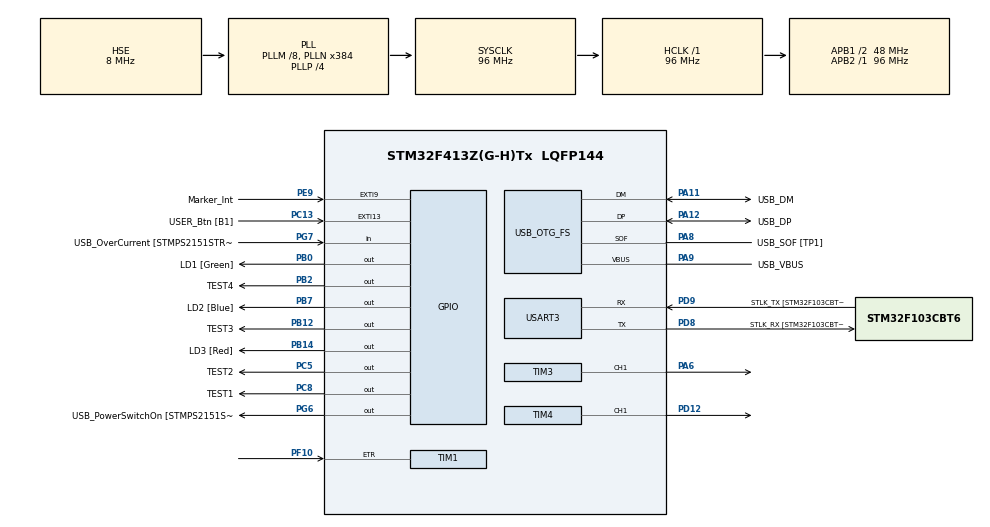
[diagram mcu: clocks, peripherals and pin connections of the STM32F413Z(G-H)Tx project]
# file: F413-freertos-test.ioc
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FREERTOS.INCLUDE_xEventGroupSetBitFromISR=1
FREERTOS.Mutexes01=loggerMutex,Dynamic,NULL
FREERTOS.Queues01=USB_rcvQueue,4,8,1,Dynamic,NULL,NULL
FREERTOS.Tasks01=defaultTask,24,128,StartDefaultTask,Default,NULL,Dynamic,NULL,NULL;LedTrigger,29,128,LedTriggerStart,Default,NULL,Dynamic,NULL,NULL;LedToggle,29,128,LedToggleStart,Default,NULL,Dynamic,NULL,NULL;USB_rcv,16,128,USB_rcvStart,Default,NULL,Dynamic,NULL,NULL
FREERTOS.Timers01=MarkerLedTimer,MarkerLedCbk,osTimerOnce,Default,NULL,Dynamic,NULL
Mcu.Family=STM32F4
Mcu.Name=STM32F413Z(G-H)Tx
Mcu.Package=LQFP144
NVIC.EXTI9_5_IRQn=true\:5\:0\:true\:false\:true\:true\:true\:true\:true
NVIC.OTG_FS_IRQn=true\:5\:0\:false\:false\:true\:true\:false\:true\:true
NVIC.PriorityGroup=NVIC_PRIORITYGROUP_4
NVIC.TIM1_CC_IRQn=true\:5\:0\:true\:false\:true\:true\:true\:true\:true
NVIC.TIM7_IRQn=true\:15\:0\:false\:false\:true\:false\:false\:true\:true
NVIC.TimeBase=TIM7_IRQn
NVIC.TimeBaseIP=TIM7
PA10.GPIO_Label=USB_ID
PA10.Signal=USB_OTG_FS_ID
PA11.GPIO_Label=USB_DM
PA11.Mode=Device_Only
PA11.Signal=USB_OTG_FS_DM
PA12.GPIO_Label=USB_DP
PA12.Mode=Device_Only
PA12.Signal=USB_OTG_FS_DP
PA13.GPIO_Label=TMS
PA13.Mode=Serial_Wire
PA13.Signal=SYS_JTMS-SWDIO
PA14.GPIO_Label=TCK
PA14.Mode=Serial_Wire
PA14.Signal=SYS_JTCK-SWCLK
PA6.Signal=S_TIM3_CH1
PA8.GPIO_Label=USB_SOF [TP1]
PA8.Mode=Activate_SOF_FS
PA8.Signal=USB_OTG_FS_SOF
PA9.GPIO_Label=USB_VBUS
PA9.Mode=Activate_VBUS
PA9.Signal=USB_OTG_FS_VBUS
PB0.GPIO_Label=LD1 [Green]
PB0.Signal=GPIO_Output
PB12.GPIO_Label=TEST3
PB12.Signal=GPIO_Output
PB14.GPIO_Label=LD3 [Red]
PB14.Signal=GPIO_Output
PB2.GPIO_Label=TEST4
PB2.Signal=GPIO_Output
PB3.GPIO_Label=SWO
PB3.Signal=SYS_JTDO-SWO
PB7.GPIO_Label=LD2 [Blue]
PB7.Signal=GPIO_Output
PC13.GPIO_Label=USER_Btn [B1]
PC13.Signal=GPXTI13
PC14-OSC32_IN.Mode=LSE-External-Oscillator
PC14-OSC32_IN.Signal=RCC_OSC32_IN
PC15-OSC32_OUT.Mode=LSE-External-Oscillator
PC15-OSC32_OUT.Signal=RCC_OSC32_OUT
PC5.GPIO_Label=TEST2
PC5.Signal=GPIO_Output
PC7.Signal=S_TIM3_CH2
PC8.GPIO_Label=TEST1
PC8.Signal=GPIO_Output
PC9.Signal=S_TIM3_CH4
PD12.Signal=S_TIM4_CH1
PD8.GPIO_Label=STLK_RX [STM32F103CBT6_PA3]
PD8.Mode=Asynchronous
PD8.Signal=USART3_TX
PD9.GPIO_Label=STLK_TX [STM32F103CBT6_PA2]
PD9.Mode=Asynchronous
PD9.Signal=USART3_RX
PE9.GPIO_Label=Marker_Int
PE9.Signal=GPXTI9
PF10.Signal=S_TIM1_ETR
PG6.GPIO_Label=USB_PowerSwitchOn [STMPS2151STR_EN]
PG6.Signal=GPIO_Output
PG7.GPIO_Label=USB_OverCurrent [STMPS2151STR_FAULT]
PG7.Signal=GPIO_Input
PH0\ -\ OSC_IN.GPIO_Label=MCO
PH0\ -\ OSC_IN.Mode=HSE-External-Clock-Source
PH0\ -\ OSC_IN.Signal=RCC_OSC_IN
PH1\ -\ OSC_OUT.Mode=HSE-External-Clock-Source
PH1\ -\ OSC_OUT.Signal=RCC_OSC_OUT
ProjectManager.HeapSize=0x600
ProjectManager.StackSize=0x400
ProjectManager.TargetToolchain=Makefile
RCC.48MHZClocksFreq_Value=24000000
RCC.AHBFreq_Value=96000000
RCC.APB1CLKDivider=RCC_HCLK_DIV2
RCC.APB1Freq_Value=48000000
RCC.APB1TimFreq_Value=96000000
RCC.APB2Freq_Value=96000000
RCC.APB2TimFreq_Value=96000000
RCC.CortexFreq_Value=96000000
RCC.HCLKFreq_Value=96000000
RCC.HSE_VALUE=8000000
RCC.HSI_VALUE=16000000
RCC.PLLM=8
RCC.PLLMUL=RCC_PLL_MUL9
RCC.PLLN=384
RCC.PLLP=RCC_PLLP_DIV4
RCC.PLLQ=8
RCC.PRESCALERUSB=RCC_USBCLKSOURCE_PLL_DIV1_5
RCC.SYSCLKFreq_VALUE=96000000
RCC.SYSCLKSource=RCC_SYSCLKSOURCE_PLLCLK
RCC.SYSCLKSourceVirtual=RCC_SYSCLKSOURCE_PLLCLK
RCC.USBFreq_Value=48000000
RCC.VCOOutputFreq_Value=384000000
SH.S_TIM1_ETR.0=TIM1_ETR,TriggerSource_ETR
SH.S_TIM3_CH1.0=TIM3_CH1,PWM Generation1 CH1
SH.S_TIM3_CH2.0=TIM3_CH2
SH.S_TIM3_CH4.0=TIM3_CH4
SH.S_TIM4_CH1.0=TIM4_CH1,PWM Generation1 CH1
TIM1.Channel-Output\ Compare1\ No\ Output=TIM_CHANNEL_1
TIM1.Period=1024-1
TIM1.Prescaler=0
TIM1.Pulse-Output\ Compare1\ No\ Output=100
TIM1.Slave_TriggerFilter=8
TIM3.AutoReloadPreload=TIM_AUTORELOAD_PRELOAD_DISABLE
TIM3.Channel-PWM\ Generation1\ CH1=TIM_CHANNEL_1
TIM3.CounterMode=TIM_COUNTERMODE_UP
TIM3.OC1Preload_PWM=ENABLE
TIM3.Period=837-1
TIM3.Prescaler=96-1
TIM3.Pulse-PWM\ Generation1\ CH1=418
TIM3.TIM_MasterOutputTrigger=TIM_TRGO_UPDATE
TIM3.TIM_MasterSlaveMode=TIM_MASTERSLAVEMODE_DISABLE
TIM4.AutoReloadPreload=TIM_AUTORELOAD_PRELOAD_DISABLE
TIM4.Channel-PWM\ Generation1\ CH1=TIM_CHANNEL_1
TIM4.OC1Preload_PWM=DISABLE
TIM4.Period=1024-1
TIM4.Prescaler=0
TIM4.Pulse-PWM\ Generation1\ CH1=1
TIM4.TIM_MasterOutputTrigger=TIM_TRGO_RESET
USART3.VirtualMode=VM_ASYNC
USB_DEVICE.CLASS_NAME_FS=CDC
USB_DEVICE.VirtualMode=Cdc
USB_DEVICE.VirtualModeFS=Cdc_FS
USB_OTG_FS.VirtualMode=Device_Only
USB_OTG_FS.battery_charging_enable=DISABLE
VP_FREERTOS_VS_CMSIS_V2.Mode=CMSIS_V2
VP_SYS_VS_tim7.Mode=TIM7
VP_TIM1_VS_ControllerModeClock.Mode=Clock Mode
VP_TIM1_VS_no_output1.Mode=Output Compare1 No Output
VP_TIM4_VS_ClockSourceITR.Mode=TriggerSource_ITR2
VP_TIM4_VS_ControllerModeClock.Mode=Clock Mode
VP_USB_DEVICE_VS_USB_DEVICE_CDC_FS.Mode=CDC_FS
board=NUCLEO-F413ZH

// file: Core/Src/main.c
/* USER CODE BEGIN Header */
/**
  ******************************************************************************
  * @file           : main.c
  * @brief          : Main program body
  ******************************************************************************
  * @attention
  *
  * Copyright (c) 2024 STMicroelectronics.
  * All rights reserved.
  *
  * This software is licensed under terms that can be found in the LICENSE file
  * in the root directory of this software component.
  * If no LICENSE file comes with this software, it is provided AS-IS.
  *
  ******************************************************************************
  */
/* USER CODE END Header */
#include "main.h"
#include "cmsis_os.h"
#include "usb_device.h"

/* USER CODE BEGIN Includes */
#include "cmsis_os2.h"
#include "my_timer.h"
#include "USB_rcv.h"
#include "logger.h"
/* USER CODE END Includes */

TIM_HandleTypeDef htim1;
TIM_HandleTypeDef htim3;
TIM_HandleTypeDef htim4;

UART_HandleTypeDef huart3;

/* Definitions for defaultTask */
osThreadId_t defaultTaskHandle;
const osThreadAttr_t defaultTask_attributes = {
  .name = "defaultTask",
  .stack_size = 128 * 4,
  .priority = (osPriority_t) osPriorityNormal,
};
/* Definitions for LedTrigger */
osThreadId_t LedTriggerHandle;
const osThreadAttr_t LedTrigger_attributes = {
  .name = "LedTrigger",
  .stack_size = 128 * 4,
  .priority = (osPriority_t) osPriorityNormal5,
};
/* Definitions for LedToggle */
osThreadId_t LedToggleHandle;
const osThreadAttr_t LedToggle_attributes = {
  .name = "LedToggle",
  .stack_size = 128 * 4,
  .priority = (osPriority_t) osPriorityNormal5,
};
/* Definitions for USB_rcv */
osThreadId_t USB_rcvHandle;
const osThreadAttr_t USB_rcv_attributes = {
  .name = "USB_rcv",
  .stack_size = 128 * 4,
  .priority = (osPriority_t) osPriorityBelowNormal,
};
/* Definitions for USB_rcvQueue */
osMessageQueueId_t USB_rcvQueueHandle;
const osMessageQueueAttr_t USB_rcvQueue_attributes = {
  .name = "USB_rcvQueue"
};
/* Definitions for MarkerLedTimer */
osTimerId_t MarkerLedTimerHandle;
const osTimerAttr_t MarkerLedTimer_attributes = {
  .name = "MarkerLedTimer"
};
/* Definitions for loggerMutex */
osMutexId_t loggerMutexHandle;
const osMutexAttr_t loggerMutex_attributes = {
  .name = "loggerMutex"
};

void SystemClock_Config(void);
static void MX_GPIO_Init(void);
static void MX_USART3_UART_Init(void);
static void MX_TIM3_Init(void);
static void MX_TIM4_Init(void);
static void MX_TIM1_Init(void);
void StartDefaultTask(void *argument);
void LedTriggerStart(void *argument);
void LedToggleStart(void *argument);
void USB_rcvStart(void *argument);
void MarkerLedCbk(void *argument);

int main(void)
{

  /* MCU Configuration--------------------------------------------------------*/

  /* Reset of all peripherals, Initializes the Flash interface and the Systick. */
  HAL_Init();

  /* Configure the system clock */
  SystemClock_Config();

  /* Initialize all configured peripherals */
  MX_GPIO_Init();
  MX_USART3_UART_Init();
  MX_TIM3_Init();
  MX_TIM4_Init();
  MX_TIM1_Init();
  /* USER CODE BEGIN 2 */
  pInjectTask = &LedTriggerHandle;
  pEncoderTIM = &htim3;
  HAL_TIM_PWM_Start(&htim3, TIM_CHANNEL_1);
  HAL_TIM_PWM_Start(&htim4, TIM_CHANNEL_1);
  HAL_TIM_OC_Start_IT(&htim1, TIM_CHANNEL_1);
  /* USER CODE END 2 */

  /* Init scheduler */
  osKernelInitialize();
  /* Create the mutex(es) */
  /* creation of loggerMutex */
  loggerMutexHandle = osMutexNew(&loggerMutex_attributes);

  /* USER CODE BEGIN RTOS_MUTEX */
  /* add mutexes, ... */
  pLoggerMutexHandle = &loggerMutexHandle;
  /* USER CODE END RTOS_MUTEX */

  /* Create the timer(s) */
  /* creation of MarkerLedTimer */
  MarkerLedTimerHandle = osTimerNew(MarkerLedCbk, osTimerOnce, NULL, &MarkerLedTimer_attributes);

  /* Create the queue(s) */
  /* creation of USB_rcvQueue */
  USB_rcvQueueHandle = osMessageQueueNew (4, 8, &USB_rcvQueue_attributes);

  /* USER CODE BEGIN RTOS_QUEUES */
  /* add queues, ... */
  pUSB_rcvQueueHandle = &USB_rcvQueueHandle;
  /* USER CODE END RTOS_QUEUES */

  /* Create the thread(s) */
  /* creation of defaultTask */
  defaultTaskHandle = osThreadNew(StartDefaultTask, NULL, &defaultTask_attributes);

  /* creation of LedTrigger */
  LedTriggerHandle = osThreadNew(LedTriggerStart, NULL, &LedTrigger_attributes);

  /* creation of LedToggle */
  LedToggleHandle = osThreadNew(LedToggleStart, NULL, &LedToggle_attributes);

  /* creation of USB_rcv */
  USB_rcvHandle = osThreadNew(USB_rcvStart, NULL, &USB_rcv_attributes);

  /* Start scheduler */
  osKernelStart();

  /* We should never get here as control is now taken by the scheduler */

  /* Infinite loop */
  while (1)
  {

  }
}

void SystemClock_Config(void)
{
  RCC_OscInitTypeDef RCC_OscInitStruct = {0};
  RCC_ClkInitTypeDef RCC_ClkInitStruct = {0};

  /** Configure the main internal regulator output voltage
  */
  __HAL_RCC_PWR_CLK_ENABLE();
  __HAL_PWR_VOLTAGESCALING_CONFIG(PWR_REGULATOR_VOLTAGE_SCALE1);

  /** Initializes the RCC Oscillators according to the specified parameters
  * in the RCC_OscInitTypeDef structure.
  */
  RCC_OscInitStruct.OscillatorType = RCC_OSCILLATORTYPE_HSE;
  RCC_OscInitStruct.HSEState = RCC_HSE_BYPASS;
  RCC_OscInitStruct.PLL.PLLState = RCC_PLL_ON;
  RCC_OscInitStruct.PLL.PLLSource = RCC_PLLSOURCE_HSE;
  RCC_OscInitStruct.PLL.PLLM = 8;
  RCC_OscInitStruct.PLL.PLLN = 384;
  RCC_OscInitStruct.PLL.PLLP = RCC_PLLP_DIV4;
  RCC_OscInitStruct.PLL.PLLQ = 8;
  RCC_OscInitStruct.PLL.PLLR = 2;
  if (HAL_RCC_OscConfig(&RCC_OscInitStruct) != HAL_OK)
  {
    Error_Handler();
  }

  /** Initializes the CPU, AHB and APB buses clocks
  */
  RCC_ClkInitStruct.ClockType = RCC_CLOCKTYPE_HCLK|RCC_CLOCKTYPE_SYSCLK
                              |RCC_CLOCKTYPE_PCLK1|RCC_CLOCKTYPE_PCLK2;
  RCC_ClkInitStruct.SYSCLKSource = RCC_SYSCLKSOURCE_PLLCLK;
  RCC_ClkInitStruct.AHBCLKDivider = RCC_SYSCLK_DIV1;
  RCC_ClkInitStruct.APB1CLKDivider = RCC_HCLK_DIV2;
  RCC_ClkInitStruct.APB2CLKDivider = RCC_HCLK_DIV1;

  if (HAL_RCC_ClockConfig(&RCC_ClkInitStruct, FLASH_LATENCY_3) != HAL_OK)
  {
    Error_Handler();
  }
}

static void MX_TIM1_Init(void)
{

  TIM_SlaveConfigTypeDef sSlaveConfig = {0};
  TIM_MasterConfigTypeDef sMasterConfig = {0};
  TIM_OC_InitTypeDef sConfigOC = {0};
  TIM_BreakDeadTimeConfigTypeDef sBreakDeadTimeConfig = {0};

  htim1.Instance = TIM1;
  htim1.Init.Prescaler = 0;
  htim1.Init.CounterMode = TIM_COUNTERMODE_UP;
  htim1.Init.Period = 1024-1;
  htim1.Init.ClockDivision = TIM_CLOCKDIVISION_DIV1;
  htim1.Init.RepetitionCounter = 0;
  htim1.Init.AutoReloadPreload = TIM_AUTORELOAD_PRELOAD_DISABLE;
  if (HAL_TIM_Base_Init(&htim1) != HAL_OK)
  {
    Error_Handler();
  }
  if (HAL_TIM_OC_Init(&htim1) != HAL_OK)
  {
    Error_Handler();
  }
  sSlaveConfig.SlaveMode = TIM_SLAVEMODE_EXTERNAL1;
  sSlaveConfig.InputTrigger = TIM_TS_ETRF;
  sSlaveConfig.TriggerPolarity = TIM_TRIGGERPOLARITY_NONINVERTED;
  sSlaveConfig.TriggerPrescaler = TIM_TRIGGERPRESCALER_DIV1;
  sSlaveConfig.TriggerFilter = 8;
  if (HAL_TIM_SlaveConfigSynchro(&htim1, &sSlaveConfig) != HAL_OK)
  {
    Error_Handler();
  }
  sMasterConfig.MasterOutputTrigger = TIM_TRGO_RESET;
  sMasterConfig.MasterSlaveMode = TIM_MASTERSLAVEMODE_DISABLE;
  if (HAL_TIMEx_MasterConfigSynchronization(&htim1, &sMasterConfig) != HAL_OK)
  {
    Error_Handler();
  }
  sConfigOC.OCMode = TIM_OCMODE_TIMING;
  sConfigOC.Pulse = 100;
  sConfigOC.OCPolarity = TIM_OCPOLARITY_HIGH;
  sConfigOC.OCNPolarity = TIM_OCNPOLARITY_HIGH;
  sConfigOC.OCFastMode = TIM_OCFAST_DISABLE;
  sConfigOC.OCIdleState = TIM_OCIDLESTATE_RESET;
  sConfigOC.OCNIdleState = TIM_OCNIDLESTATE_RESET;
  if (HAL_TIM_OC_ConfigChannel(&htim1, &sConfigOC, TIM_CHANNEL_1) != HAL_OK)
  {
    Error_Handler();
  }
  sBreakDeadTimeConfig.OffStateRunMode = TIM_OSSR_DISABLE;
  sBreakDeadTimeConfig.OffStateIDLEMode = TIM_OSSI_DISABLE;
  sBreakDeadTimeConfig.LockLevel = TIM_LOCKLEVEL_OFF;
  sBreakDeadTimeConfig.DeadTime = 0;
  sBreakDeadTimeConfig.BreakState = TIM_BREAK_DISABLE;
  sBreakDeadTimeConfig.BreakPolarity = TIM_BREAKPOLARITY_HIGH;
  sBreakDeadTimeConfig.AutomaticOutput = TIM_AUTOMATICOUTPUT_DISABLE;
  if (HAL_TIMEx_ConfigBreakDeadTime(&htim1, &sBreakDeadTimeConfig) != HAL_OK)
  {
    Error_Handler();
  }

}

static void MX_TIM3_Init(void)
{

  TIM_MasterConfigTypeDef sMasterConfig = {0};
  TIM_OC_InitTypeDef sConfigOC = {0};

  htim3.Instance = TIM3;
  htim3.Init.Prescaler = 96-1;
  htim3.Init.CounterMode = TIM_COUNTERMODE_UP;
  htim3.Init.Period = 837-1;
  htim3.Init.ClockDivision = TIM_CLOCKDIVISION_DIV1;
  htim3.Init.AutoReloadPreload = TIM_AUTORELOAD_PRELOAD_DISABLE;
  if (HAL_TIM_PWM_Init(&htim3) != HAL_OK)
  {
    Error_Handler();
  }
  sMasterConfig.MasterOutputTrigger = TIM_TRGO_UPDATE;
  sMasterConfig.MasterSlaveMode = TIM_MASTERSLAVEMODE_DISABLE;
  if (HAL_TIMEx_MasterConfigSynchronization(&htim3, &sMasterConfig) != HAL_OK)
  {
    Error_Handler();
  }
  sConfigOC.OCMode = TIM_OCMODE_PWM1;
  sConfigOC.Pulse = 418;
  sConfigOC.OCPolarity = TIM_OCPOLARITY_HIGH;
  sConfigOC.OCFastMode = TIM_OCFAST_DISABLE;
  if (HAL_TIM_PWM_ConfigChannel(&htim3, &sConfigOC, TIM_CHANNEL_1) != HAL_OK)
  {
    Error_Handler();
  }
  HAL_TIM_MspPostInit(&htim3);

}

static void MX_TIM4_Init(void)
{

  TIM_SlaveConfigTypeDef sSlaveConfig = {0};
  TIM_MasterConfigTypeDef sMasterConfig = {0};
  TIM_OC_InitTypeDef sConfigOC = {0};

  htim4.Instance = TIM4;
  htim4.Init.Prescaler = 0;
  htim4.Init.CounterMode = TIM_COUNTERMODE_UP;
  htim4.Init.Period = 1024-1;
  htim4.Init.ClockDivision = TIM_CLOCKDIVISION_DIV1;
  htim4.Init.AutoReloadPreload = TIM_AUTORELOAD_PRELOAD_DISABLE;
  if (HAL_TIM_Base_Init(&htim4) != HAL_OK)
  {
    Error_Handler();
  }
  if (HAL_TIM_PWM_Init(&htim4) != HAL_OK)
  {
    Error_Handler();
  }
  sSlaveConfig.SlaveMode = TIM_SLAVEMODE_EXTERNAL1;
  sSlaveConfig.InputTrigger = TIM_TS_ITR2;
  if (HAL_TIM_SlaveConfigSynchro(&htim4, &sSlaveConfig) != HAL_OK)
  {
    Error_Handler();
  }
  sMasterConfig.MasterOutputTrigger = TIM_TRGO_RESET;
  sMasterConfig.MasterSlaveMode = TIM_MASTERSLAVEMODE_DISABLE;
  if (HAL_TIMEx_MasterConfigSynchronization(&htim4, &sMasterConfig) != HAL_OK)
  {
    Error_Handler();
  }
  sConfigOC.OCMode = TIM_OCMODE_PWM1;
  sConfigOC.Pulse = 1;
  sConfigOC.OCPolarity = TIM_OCPOLARITY_HIGH;
  sConfigOC.OCFastMode = TIM_OCFAST_DISABLE;
  if (HAL_TIM_PWM_ConfigChannel(&htim4, &sConfigOC, TIM_CHANNEL_1) != HAL_OK)
  {
    Error_Handler();
  }
  __HAL_TIM_DISABLE_OCxPRELOAD(&htim4, TIM_CHANNEL_1);
  HAL_TIM_MspPostInit(&htim4);

}

static void MX_USART3_UART_Init(void)
{

  huart3.Instance = USART3;
  huart3.Init.BaudRate = 115200;
  huart3.Init.WordLength = UART_WORDLENGTH_8B;
  huart3.Init.StopBits = UART_STOPBITS_1;
  huart3.Init.Parity = UART_PARITY_NONE;
  huart3.Init.Mode = UART_MODE_TX_RX;
  huart3.Init.HwFlowCtl = UART_HWCONTROL_NONE;
  huart3.Init.OverSampling = UART_OVERSAMPLING_16;
  if (HAL_UART_Init(&huart3) != HAL_OK)
  {
    Error_Handler();
  }

}

static void MX_GPIO_Init(void)
{
  GPIO_InitTypeDef GPIO_InitStruct = {0};

  /* GPIO Ports Clock Enable */
  __HAL_RCC_GPIOC_CLK_ENABLE();
  __HAL_RCC_GPIOF_CLK_ENABLE();
  __HAL_RCC_GPIOH_CLK_ENABLE();
  __HAL_RCC_GPIOA_CLK_ENABLE();
  __HAL_RCC_GPIOB_CLK_ENABLE();
  __HAL_RCC_GPIOE_CLK_ENABLE();
  __HAL_RCC_GPIOD_CLK_ENABLE();
  __HAL_RCC_GPIOG_CLK_ENABLE();

  /*Configure GPIO pin Output Level */
  HAL_GPIO_WritePin(GPIOC, TEST2_Pin|TEST1_Pin, GPIO_PIN_RESET);

  /*Configure GPIO pin Output Level */
  HAL_GPIO_WritePin(GPIOB, LD1_Pin|TEST4_Pin|TEST3_Pin|LD3_Pin
                          |LD2_Pin, GPIO_PIN_RESET);

  /*Configure GPIO pin Output Level */
  HAL_GPIO_WritePin(USB_PowerSwitchOn_GPIO_Port, USB_PowerSwitchOn_Pin, GPIO_PIN_RESET);

  /*Configure GPIO pin : USER_Btn_Pin */
  GPIO_InitStruct.Pin = USER_Btn_Pin;
  GPIO_InitStruct.Mode = GPIO_MODE_IT_RISING;
  GPIO_InitStruct.Pull = GPIO_NOPULL;
  HAL_GPIO_Init(USER_Btn_GPIO_Port, &GPIO_InitStruct);

  /*Configure GPIO pins : TEST2_Pin TEST1_Pin */
  GPIO_InitStruct.Pin = TEST2_Pin|TEST1_Pin;
  GPIO_InitStruct.Mode = GPIO_MODE_OUTPUT_PP;
  GPIO_InitStruct.Pull = GPIO_NOPULL;
  GPIO_InitStruct.Speed = GPIO_SPEED_FREQ_LOW;
  HAL_GPIO_Init(GPIOC, &GPIO_InitStruct);

  /*Configure GPIO pins : LD1_Pin TEST4_Pin TEST3_Pin LD3_Pin
                           LD2_Pin */
  GPIO_InitStruct.Pin = LD1_Pin|TEST4_Pin|TEST3_Pin|LD3_Pin
                          |LD2_Pin;
  GPIO_InitStruct.Mode = GPIO_MODE_OUTPUT_PP;
  GPIO_InitStruct.Pull = GPIO_NOPULL;
  GPIO_InitStruct.Speed = GPIO_SPEED_FREQ_LOW;
  HAL_GPIO_Init(GPIOB, &GPIO_InitStruct);

  /*Configure GPIO pin : Marker_Int_Pin */
  GPIO_InitStruct.Pin = Marker_Int_Pin;
  GPIO_InitStruct.Mode = GPIO_MODE_IT_RISING;
  GPIO_InitStruct.Pull = GPIO_NOPULL;
  HAL_GPIO_Init(Marker_Int_GPIO_Port, &GPIO_InitStruct);

  /*Configure GPIO pin : USB_PowerSwitchOn_Pin */
  GPIO_InitStruct.Pin = USB_PowerSwitchOn_Pin;
  GPIO_InitStruct.Mode = GPIO_MODE_OUTPUT_PP;
  GPIO_InitStruct.Pull = GPIO_NOPULL;
  GPIO_InitStruct.Speed = GPIO_SPEED_FREQ_LOW;
  HAL_GPIO_Init(USB_PowerSwitchOn_GPIO_Port, &GPIO_InitStruct);

  /*Configure GPIO pin : USB_OverCurrent_Pin */
  GPIO_InitStruct.Pin = USB_OverCurrent_Pin;
  GPIO_InitStruct.Mode = GPIO_MODE_INPUT;
  GPIO_InitStruct.Pull = GPIO_NOPULL;
  HAL_GPIO_Init(USB_OverCurrent_GPIO_Port, &GPIO_InitStruct);

  /* EXTI interrupt init*/
  HAL_NVIC_SetPriority(EXTI9_5_IRQn, 5, 0);
  HAL_NVIC_EnableIRQ(EXTI9_5_IRQn);

}

void StartDefaultTask(void *argument)
{
  /* init code for USB_DEVICE */
  MX_USB_DEVICE_Init();
  for(;;)
  {
    osDelay(1);
  }
}

void LedTriggerStart(void *argument)
{
  /* USER CODE BEGIN LedTriggerStart */
#define NUMB_OF_CYLINDERS  6
  /* nominal trig encoder positions for cylinders and lubricators */
  static uint16_t trigPos[NUMB_OF_CYLINDERS][2][2] = {
    {{40, 42},{ 40, 42}},
    {{380, 383},{ 382, 384}},
    {{720, 723},{ 722, 724}},
    {{210, 213},{ 211, 214}},
    {{550, 553},{ 550, 553}},
    {{890, 892},{ 890, 892}}
  };
  uint8_t cylinder, lubricator;
  uint16_t currentPos, nextPos, firstPos, testPos;
  uint32_t flags;
  /* Infinite loop */
  for(;;)
  {
    /* wait for flag from encoder interrupt */
    flags = osThreadFlagsWait(INJECT_EVENT | MARKER_EVENT, osFlagsWaitAny, osWaitForever);

    if((flags & INJECT_EVENT) != 0)
    {
      currentPos = htim1.Instance->CCR1;
      nextPos = 1024;
      firstPos = 1024;
      for(cylinder = 0; cylinder < NUMB_OF_CYLINDERS; cylinder++)
      {
        for(lubricator = 0; lubricator < 2; lubricator++)
        {
          testPos = trigPos[cylinder][lubricator][0];
          if( currentPos == testPos)
          {
            /* start this lubricator */
            if(lubricator == 0)
            {
              HAL_GPIO_WritePin(TEST2_GPIO_Port, TEST2_Pin, GPIO_PIN_SET);
            }
            else
            {
              HAL_GPIO_WritePin(TEST3_GPIO_Port, TEST3_Pin, GPIO_PIN_SET);
            }
          }

          if((testPos > currentPos) && (testPos < nextPos))
          {
            nextPos = testPos;
          }
          if((testPos < currentPos) && (testPos < firstPos))
          {
            firstPos = testPos;
          }

          testPos = trigPos[cylinder][lubricator][1];
          if( currentPos == testPos)
          {
            /* stop this lubricator */
            if(lubricator == 0)
            {
              HAL_GPIO_WritePin(TEST2_GPIO_Port, TEST2_Pin, GPIO_PIN_RESET);
            }
            else
            {
              HAL_GPIO_WritePin(TEST3_GPIO_Port, TEST3_Pin, GPIO_PIN_RESET);
            }
          }

          if((testPos > currentPos) && (testPos < nextPos))
          {
            nextPos = testPos;
          }
          if((testPos < currentPos) && (testPos < firstPos))
          {
            firstPos = testPos;
          }

          /* set next position to trig */
          if(nextPos < 1024)
          {
            htim1.Instance->CCR1 = nextPos;
          }
          else
          {
            htim1.Instance->CCR1 = firstPos;
          }
        }
      }
    }

    if((flags & MARKER_EVENT) != 0)
    {
      HAL_GPIO_WritePin(LD2_GPIO_Port, LD2_Pin, GPIO_PIN_SET);
      osTimerStart(MarkerLedTimerHandle, 100);
      logMessage(LVL_INFO, "shaft marker triggered");
      logMessage(LVL_WARNING, "shaft marker triggered");
      logMessage(LVL_ERROR, "shaft marker triggered");
    }
  }
  /* USER CODE END LedTriggerStart */
}

void LedToggleStart(void *argument)
{
  /* USER CODE BEGIN LedToggleStart */
  /* Infinite loop */
  for(;;)
  {
    osDelay(2000);
  }
  /* USER CODE END LedToggleStart */
}

void USB_rcvStart(void *argument)
{
  /* USER CODE BEGIN USB_rcvStart */
  USB_rcvTask();
  /* USER CODE END USB_rcvStart */
}

/* MarkerLedCbk function */
void MarkerLedCbk(void *argument)
{
  /* USER CODE BEGIN MarkerLedCbk */
  HAL_GPIO_WritePin(LD2_GPIO_Port, LD2_Pin, GPIO_PIN_RESET);
  /* USER CODE END MarkerLedCbk */
}

void HAL_TIM_PeriodElapsedCallback(TIM_HandleTypeDef *htim)
{
  if (htim->Instance == TIM7) {
    HAL_IncTick();
  }
}

void Error_Handler(void)
{
  __disable_irq();
  while (1)
  {
  }
}
